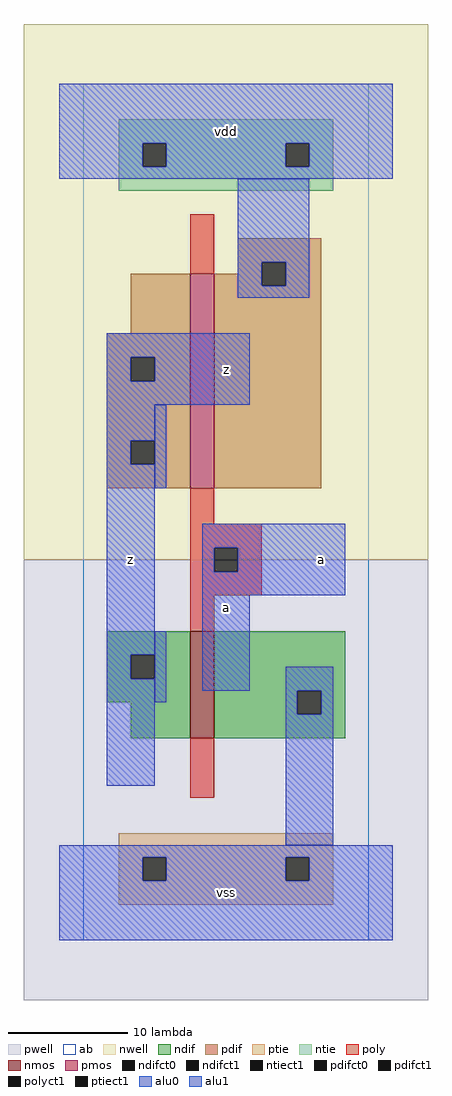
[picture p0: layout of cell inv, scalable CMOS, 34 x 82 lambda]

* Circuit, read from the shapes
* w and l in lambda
.subckt inv a vdd vss z
M1 vss a z vss nfet w=9 l=2
M2 vdd a z vdd pfet w=18 l=2
.ends

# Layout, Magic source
magic
tech scmos
<< ab >>
rect 0 0 24 72
<< nwell >>
rect -5 32 29 77
<< pwell >>
rect -5 -5 29 32
<< poly >>
rect 9 56 11 61
rect 9 35 11 38
rect 9 33 15 35
rect 9 31 11 33
rect 13 31 15 33
rect 9 29 15 31
rect 9 26 11 29
rect 9 12 11 17
<< ndif >>
rect 2 24 9 26
rect 2 22 4 24
rect 6 22 9 24
rect 2 20 9 22
rect 4 17 9 20
rect 11 21 22 26
rect 11 19 18 21
rect 20 19 22 21
rect 11 17 22 19
<< pdif >>
rect 13 57 20 59
rect 13 56 15 57
rect 4 51 9 56
rect 2 49 9 51
rect 2 47 4 49
rect 6 47 9 49
rect 2 42 9 47
rect 2 40 4 42
rect 6 40 9 42
rect 2 38 9 40
rect 11 55 15 56
rect 17 55 20 57
rect 11 38 20 55
<< alu1 >>
rect -2 67 26 72
rect -2 65 5 67
rect 7 65 17 67
rect 19 65 26 67
rect -2 64 26 65
rect 2 49 14 51
rect 2 47 4 49
rect 6 47 14 49
rect 2 45 14 47
rect 2 42 6 45
rect 2 40 4 42
rect 2 24 6 40
rect 10 33 22 35
rect 10 31 11 33
rect 13 31 22 33
rect 10 29 22 31
rect 2 22 4 24
rect 2 13 6 22
rect 10 21 14 29
rect -2 7 26 8
rect -2 5 5 7
rect 7 5 17 7
rect 19 5 26 7
rect -2 0 26 5
<< ptie >>
rect 3 7 21 9
rect 3 5 5 7
rect 7 5 17 7
rect 19 5 21 7
rect 3 3 21 5
<< ntie >>
rect 3 67 21 69
rect 3 65 5 67
rect 7 65 17 67
rect 19 65 21 67
rect 3 63 21 65
<< nmos >>
rect 9 17 11 26
<< pmos >>
rect 9 38 11 56
<< polyct1 >>
rect 11 31 13 33
<< ndifct0 >>
rect 18 19 20 21
<< ndifct1 >>
rect 4 22 6 24
<< ntiect1 >>
rect 5 65 7 67
rect 17 65 19 67
<< ptiect1 >>
rect 5 5 7 7
rect 17 5 19 7
<< pdifct0 >>
rect 15 55 17 57
<< pdifct1 >>
rect 4 47 6 49
rect 4 40 6 42
<< alu0 >>
rect 13 57 19 64
rect 13 55 15 57
rect 17 55 19 57
rect 13 54 19 55
rect 6 38 7 45
rect 6 20 7 26
rect 17 21 21 23
rect 17 19 18 21
rect 20 19 21 21
rect 17 8 21 19
<< labels >>
rlabel alu1 4 32 4 32 6 z
rlabel alu1 12 4 12 4 6 vss
rlabel alu1 12 28 12 28 6 a
rlabel alu1 12 48 12 48 6 z
rlabel alu1 12 68 12 68 6 vdd
rlabel alu1 20 32 20 32 6 a
<< end >>
